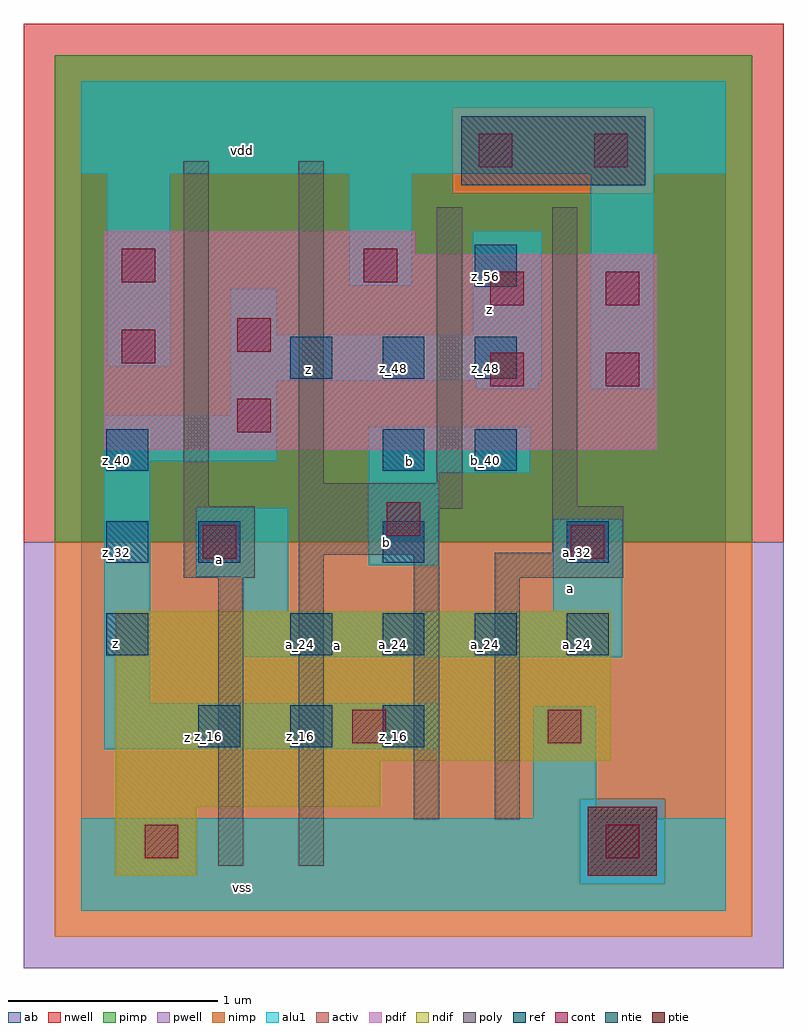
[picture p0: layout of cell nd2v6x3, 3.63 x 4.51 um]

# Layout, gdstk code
import gdstk
lib = gdstk.Library(unit=1e-6, precision=2.5e-09)
def R(c, l, rs):  # rectangles x0, y0, x1, y1
    for r in rs: c.add(gdstk.rectangle(r[:2], r[2:], *l))
def A(c, l, x, y, w, h, nx, ny, dx, dy):  # array of equal rectangles
    R(c, l, [(x+i*dx, y+j*dy, x+i*dx+w, y+j*dy+h) for i in range(nx) for j in range(ny)])
ndif = (3, 0)
pdif = (4, 0)
ntie = (5, 0)
ptie = (6, 0)
ref = (24, 0)
cont = (25, 0)
pwell = (41, 0)
nwell = (42, 0)
activ = (43, 0)
pimp = (44, 0)
nimp = (45, 0)
poly = (46, 0)
alu1 = (49, 0)
ab = (63, 0)

nd2v6x3 = lib.new_cell('nd2v6x3')
R(nd2v6x3, ndif, [(0.165,0.165,0.55,0.495), (0.165,0.495,1.43,0.715), (0.165,0.715,2.53,1.43)])
R(nd2v6x3, pdif, [(0.11,2.2,2.75,3.135), (0.11,3.135,1.595,3.245)])
R(nd2v6x3, ntie, [(1.815,3.465,2.695,3.795)])
R(nd2v6x3, ptie, [(2.42,0.165,2.75,0.495)])
A(nd2v6x3, ref, 0.56, 0.78, 0.2, 0.2, 3, 1, 0.44, 0)
A(nd2v6x3, ref, 0.12, 1.22, 0.2, 0.2, 1, 3, 0, 0.44)
A(nd2v6x3, ref, 1, 1.22, 0.2, 0.2, 4, 1, 0.44, 0)
A(nd2v6x3, ref, 0.56, 1.66, 0.2, 0.2, 3, 1, 0.88, 0)
A(nd2v6x3, ref, 1, 2.54, 0.2, 0.2, 3, 1, 0.44, 0)
R(nd2v6x3, ref, [(1.44,2.1,1.64,2.3), (1.88,2.1,2.08,2.3), (1.88,2.98,2.08,3.18)])
R(nd2v6x3, cont, [(0.305,0.25,0.465,0.41), (2.505,0.25,2.665,0.41), (1.295,0.8,1.455,0.96), (2.23,0.8,2.39,0.96), (0.58,1.68,0.74,1.84), (2.34,1.68,2.5,1.84), (1.46,1.79,1.62,1.95), (0.745,2.285,0.905,2.445), (1.955,2.505,2.115,2.665), (2.505,2.505,2.665,2.665), (0.195,2.615,0.355,2.775), (0.745,2.67,0.905,2.83), (1.955,2.89,2.115,3.05), (2.505,2.89,2.665,3.05), (0.195,3,0.355,3.16), (1.35,3,1.51,3.16), (1.9,3.55,2.06,3.71), (2.45,3.55,2.61,3.71)])
R(nd2v6x3, pwell, [(-0.275,-0.275,3.355,1.76)])
R(nd2v6x3, nwell, [(-0.275,1.76,3.355,4.235)])
R(nd2v6x3, activ, [(0.165,0.165,0.55,0.495), (2.42,0.165,2.75,0.495), (0.165,0.495,1.43,0.715), (0.165,0.715,2.53,1.43), (0.11,2.2,2.75,3.135), (0.11,3.135,1.595,3.245), (1.815,3.465,2.695,3.795)])
R(nd2v6x3, pimp, [(2.38,0.125,2.79,0.535), (-0.125,1.76,3.205,3.425), (-0.125,3.425,1.775,3.835), (2.735,3.425,3.205,3.835), (-0.125,3.835,3.205,4.085)])
R(nd2v6x3, nimp, [(-0.125,-0.125,3.205,0.125), (-0.125,0.125,2.38,0.535), (2.79,0.125,3.205,0.535), (-0.125,0.535,3.205,1.76), (1.775,3.425,2.735,3.835)])
R(nd2v6x3, poly, [(0.655,0.215,0.775,1.59), (1.04,0.215,1.16,1.7), (1.59,0.435,1.71,1.7), (1.975,0.435,2.095,1.59), (0.49,1.59,0.83,1.93), (1.975,1.59,2.59,1.71), (1.04,1.7,1.71,1.92), (2.25,1.71,2.59,1.93), (1.04,1.92,1.82,2.04), (0.49,1.93,0.61,3.58), (2.25,1.93,2.37,3.36), (1.04,2.04,1.16,3.58), (1.7,2.04,1.82,3.36)])
R(nd2v6x3, alu1, [(0,0,3.08,0.44), (2.16,0.44,2.46,0.975), (0.11,0.77,1.705,0.99), (0.11,0.99,0.33,2.145), (0.77,1.21,2.585,1.43), (0.77,1.43,0.99,1.595), (2.255,1.43,2.585,1.87), (0.55,1.595,0.99,1.925), (1.375,1.65,1.705,2.09), (1.375,2.09,2.145,2.31), (0.11,2.145,0.935,2.365), (0.715,2.365,0.935,2.53), (1.885,2.49,2.185,2.53), (2.435,2.49,2.735,3.52), (0.715,2.53,2.2,2.75), (0.125,2.6,0.425,3.52), (0.715,2.75,0.935,2.97), (1.87,2.75,2.2,3.245), (1.28,2.985,1.58,3.52), (0,3.52,3.08,3.96)])
R(nd2v6x3, ab, [(0,0,3.08,3.96)])
nd2v6x3.add(gdstk.Label('vss', (0.77,0.11), layer=49, texttype=0))
nd2v6x3.add(gdstk.Label('z', (0.5075,0.825), layer=49, texttype=0))
nd2v6x3.add(gdstk.Label('a', (1.2225,1.265), layer=49, texttype=0))
nd2v6x3.add(gdstk.Label('a', (2.3375,1.54), layer=49, texttype=0))
nd2v6x3.add(gdstk.Label('b', (1.4575,1.76), layer=49, texttype=0))
nd2v6x3.add(gdstk.Label('a', (0.66,1.6775), layer=49, texttype=0))
nd2v6x3.add(gdstk.Label('b', (1.5675,2.145), layer=49, texttype=0))
nd2v6x3.add(gdstk.Label('z', (0.165,1.2775), layer=49, texttype=0))
nd2v6x3.add(gdstk.Label('z', (1.085,2.585), layer=49, texttype=0))
nd2v6x3.add(gdstk.Label('z', (1.9525,2.8725), layer=49, texttype=0))
nd2v6x3.add(gdstk.Label('vdd', (0.77,3.63), layer=49, texttype=0))
nd2v6x3.add(gdstk.Label('a_32', (2.37,1.71), layer=24, texttype=0))
nd2v6x3.add(gdstk.Label('a_24', (2.37,1.27), layer=24, texttype=0))
nd2v6x3.add(gdstk.Label('z_40', (0.17,2.15), layer=24, texttype=0))
nd2v6x3.add(gdstk.Label('z_32', (0.17,1.71), layer=24, texttype=0))
nd2v6x3.add(gdstk.Label('z_24', (0.17,1.27), layer=24, texttype=0))
nd2v6x3.add(gdstk.Label('z_56', (1.93,3.03), layer=24, texttype=0))
nd2v6x3.add(gdstk.Label('z_48', (1.93,2.59), layer=24, texttype=0))
nd2v6x3.add(gdstk.Label('b_40', (1.93,2.15), layer=24, texttype=0))
nd2v6x3.add(gdstk.Label('a_24', (1.93,1.27), layer=24, texttype=0))
nd2v6x3.add(gdstk.Label('z_48', (1.49,2.59), layer=24, texttype=0))
nd2v6x3.add(gdstk.Label('b_40', (1.49,2.15), layer=24, texttype=0))
nd2v6x3.add(gdstk.Label('b_32', (1.49,1.71), layer=24, texttype=0))
nd2v6x3.add(gdstk.Label('a_24', (1.49,1.27), layer=24, texttype=0))
nd2v6x3.add(gdstk.Label('z_16', (1.49,0.83), layer=24, texttype=0))
nd2v6x3.add(gdstk.Label('z_48', (1.05,2.59), layer=24, texttype=0))
nd2v6x3.add(gdstk.Label('a_24', (1.05,1.27), layer=24, texttype=0))
nd2v6x3.add(gdstk.Label('z_16', (1.05,0.83), layer=24, texttype=0))
nd2v6x3.add(gdstk.Label('a_32', (0.61,1.71), layer=24, texttype=0))
nd2v6x3.add(gdstk.Label('z_16', (0.61,0.83), layer=24, texttype=0))

lib.write_gds('nd2v6x3.gds')
